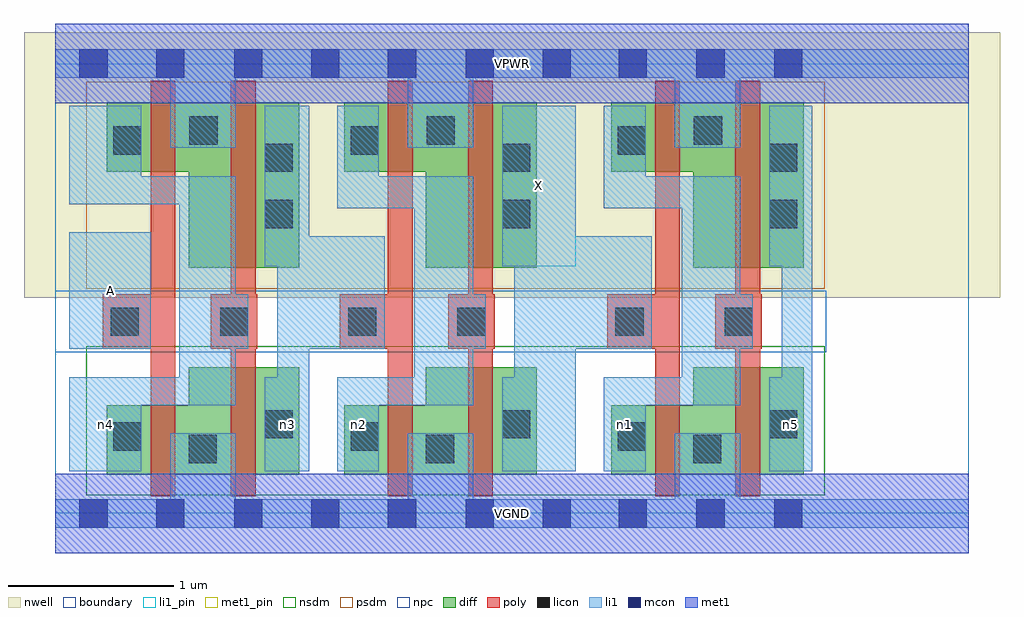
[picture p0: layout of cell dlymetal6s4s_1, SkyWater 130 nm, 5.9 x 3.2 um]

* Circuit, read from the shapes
.subckt dlymetal6s4s_1 A VGND VPWR X n1 n2 n3 n4 n5
XM1 VGND A n4 VSUBS sky130_fd_pr__nfet_01v8 w=0.42 l=0.15
XM2 n3 n4 VGND VSUBS sky130_fd_pr__nfet_01v8 w=0.65 l=0.15
XM3 VGND n3 n2 VSUBS sky130_fd_pr__nfet_01v8 w=0.42 l=0.15
XM4 X n2 VGND VSUBS sky130_fd_pr__nfet_01v8 w=0.65 l=0.15
XM5 VGND X n1 VSUBS sky130_fd_pr__nfet_01v8 w=0.42 l=0.15
XM6 n5 n1 VGND VSUBS sky130_fd_pr__nfet_01v8 w=0.65 l=0.15
XM7 VPWR A n4 n6 sky130_fd_pr__pfet_01v8 w=0.42 l=0.15
XM8 n3 n4 VPWR n6 sky130_fd_pr__pfet_01v8 w=1 l=0.15
XM9 VPWR n3 n2 n6 sky130_fd_pr__pfet_01v8 w=0.42 l=0.15
XM10 X n2 VPWR n6 sky130_fd_pr__pfet_01v8 w=1 l=0.15
XM11 VPWR X n1 n6 sky130_fd_pr__pfet_01v8 w=0.42 l=0.15
XM12 n5 n1 VPWR n6 sky130_fd_pr__pfet_01v8 w=1 l=0.15
.ends

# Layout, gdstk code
import gdstk
lib = gdstk.Library(unit=1e-6, precision=1e-09)
def R(c, l, rs):  # rectangles x0, y0, x1, y1
    for r in rs: c.add(gdstk.rectangle(r[:2], r[2:], *l))
def A(c, l, x, y, w, h, nx, ny, dx, dy):  # array of equal rectangles
    R(c, l, [(x+i*dx, y+j*dy, x+i*dx+w, y+j*dy+h) for i in range(nx) for j in range(ny)])
nwell = (64, 20)
diff = (65, 20)
poly = (66, 20)
licon = (66, 44)
li1_pin = (67, 16)
li1 = (67, 20)
mcon = (67, 44)
met1_pin = (68, 16)
met1 = (68, 20)
nsdm = (93, 44)
psdm = (94, 20)
npc = (95, 20)
boundary = (235, 4)

dlymetal6s4s_1 = lib.new_cell('dlymetal6s4s_1')
R(dlymetal6s4s_1, nwell, [(-0.19,1.305,5.71,2.91), (0,1.305,5.52,2.91)])
R(dlymetal6s4s_1, diff, [(0.31,0.235,1.475,0.655), (0.805,0.235,1.475,0.885), (1.745,0.235,2.91,0.655), (2.24,0.235,2.91,0.885), (3.36,0.235,4.525,0.655), (3.855,0.235,4.525,0.885), (0.805,1.485,1.475,2.485), (2.24,1.485,2.91,2.485), (3.855,1.485,4.525,2.485), (0.31,2.065,1.475,2.485), (1.745,2.065,2.91,2.485), (3.36,2.065,4.525,2.485)])
R(dlymetal6s4s_1, poly, [(0.575,0.105,0.725,2.615), (1.06,0.105,1.21,2.615), (2.01,0.105,2.16,2.615), (2.495,0.105,2.645,2.615), (3.625,0.105,3.775,2.615), (4.11,0.105,4.26,2.615), (0.285,0.995,0.725,1.325), (0.94,0.995,1.22,1.325), (1.72,0.995,2.16,1.325), (2.375,0.995,2.655,1.325), (3.335,0.995,3.775,1.325), (3.99,0.995,4.27,1.325)])
R(dlymetal6s4s_1, licon, [(0.805,0.305,0.975,0.475), (2.24,0.305,2.41,0.475), (3.855,0.305,4.025,0.475), (0.35,0.38,0.52,0.55), (1.785,0.38,1.955,0.55), (3.4,0.38,3.57,0.55), (1.265,0.455,1.435,0.625), (2.7,0.455,2.87,0.625), (4.315,0.455,4.485,0.625), (0.335,1.075,0.505,1.245), (0.995,1.075,1.165,1.245), (1.77,1.075,1.94,1.245), (2.43,1.075,2.6,1.245), (3.385,1.075,3.555,1.245), (4.045,1.075,4.215,1.245), (1.265,1.725,1.435,1.895), (2.7,1.725,2.87,1.895), (4.315,1.725,4.485,1.895), (1.265,2.065,1.435,2.235), (2.7,2.065,2.87,2.235), (4.315,2.065,4.485,2.235), (0.35,2.17,0.52,2.34), (1.785,2.17,1.955,2.34), (3.4,2.17,3.57,2.34), (0.81,2.23,0.98,2.4), (2.245,2.23,2.415,2.4), (3.86,2.23,4.03,2.4)])
R(dlymetal6s4s_1, li1_pin, [(0.085,0.995,0.575,1.7), (2.7,1.495,3.145,2.465)])
R(dlymetal6s4s_1, li1, [(0,-0.085,5.52,0.085), (0.695,-0.085,1.09,0.485), (2.13,-0.085,2.525,0.485), (3.745,-0.085,4.14,0.485), (0.085,0.255,0.52,0.825), (1.265,0.255,1.535,0.825), (1.34,0.255,1.535,2.465), (1.705,0.255,1.955,0.825), (2.7,0.255,3.145,0.825), (2.775,0.255,3.145,2.465), (3.315,0.255,3.57,0.825), (4.315,0.255,4.575,0.825), (4.39,0.255,4.575,2.465), (0.085,0.655,1.09,0.825), (0.75,0.655,1.09,2.04), (1.705,0.655,2.525,0.825), (2.17,0.655,2.525,2.04), (3.315,0.655,4.14,0.825), (3.785,0.655,4.14,2.04), (0.085,0.995,0.575,1.7), (0.75,0.995,1.165,1.325), (1.34,0.995,1.99,1.675), (2.17,0.995,2.6,1.325), (2.775,0.995,3.605,1.675), (3.785,0.995,4.215,1.325), (1.265,1.495,1.535,2.465), (2.7,1.495,3.145,2.465), (4.315,1.495,4.575,2.465), (1.705,1.845,1.955,2.465), (1.705,1.845,2.525,2.04), (3.315,1.845,3.57,2.465), (3.315,1.845,4.14,2.04), (0.085,1.87,1.09,2.04), (0.085,1.87,0.52,2.465), (0.695,2.21,1.09,2.805), (2.13,2.21,2.525,2.805), (3.745,2.21,4.14,2.805), (0,2.635,5.52,2.805)])
A(dlymetal6s4s_1, mcon, 1.08, -0.085, 0.17, 0.17, 3, 2, 0.465, 2.72)
A(dlymetal6s4s_1, mcon, 3.405, -0.085, 0.17, 0.17, 3, 2, 0.47, 2.72)
R(dlymetal6s4s_1, mcon, [(0.145,-0.085,0.315,0.085), (0.61,-0.085,0.78,0.085), (2.48,-0.085,2.65,0.085), (2.945,-0.085,3.115,0.085), (0.145,2.635,0.315,2.805), (0.61,2.635,0.78,2.805), (2.48,2.635,2.65,2.805), (2.945,2.635,3.115,2.805)])
R(dlymetal6s4s_1, met1_pin, [(0,-0.24,5.52,0.24), (0,2.48,5.52,2.96)])
R(dlymetal6s4s_1, met1, [(0,-0.24,5.52,0.24), (0,2.48,5.52,2.96)])
R(dlymetal6s4s_1, nsdm, [(0.185,0.11,4.65,1.01)])
R(dlymetal6s4s_1, psdm, [(0.185,1.36,4.65,2.61)])
R(dlymetal6s4s_1, npc, [(0,0.975,4.66,1.345)])
R(dlymetal6s4s_1, boundary, [(0,0,5.52,2.72)])
dlymetal6s4s_1.add(gdstk.Label('A', (0.33,1.347), layer=67, texttype=5))
dlymetal6s4s_1.add(gdstk.Label('X', (2.922,1.98), layer=67, texttype=5))
dlymetal6s4s_1.add(gdstk.Label('n4', (0.302,0.54), layer=67, texttype=5))
dlymetal6s4s_1.add(gdstk.Label('n3', (1.4,0.54), layer=67, texttype=5))
dlymetal6s4s_1.add(gdstk.Label('n2', (1.83,0.54), layer=67, texttype=5))
dlymetal6s4s_1.add(gdstk.Label('n1', (3.442,0.54), layer=67, texttype=5))
dlymetal6s4s_1.add(gdstk.Label('n5', (4.445,0.54), layer=67, texttype=5))
dlymetal6s4s_1.add(gdstk.Label('VPWR', (2.76,2.72), layer=68, texttype=5))
dlymetal6s4s_1.add(gdstk.Label('VGND', (2.76,0), layer=68, texttype=5))
dlymetal6s4s_1.add(gdstk.Label('A', (0.33,1.347), layer=67, texttype=16))
dlymetal6s4s_1.add(gdstk.Label('X', (2.922,1.98), layer=67, texttype=16))
dlymetal6s4s_1.add(gdstk.Label('VPWR', (2.76,2.72), layer=68, texttype=16))
dlymetal6s4s_1.add(gdstk.Label('VGND', (2.76,0), layer=68, texttype=16))

lib.write_gds('dlymetal6s4s_1.gds')
